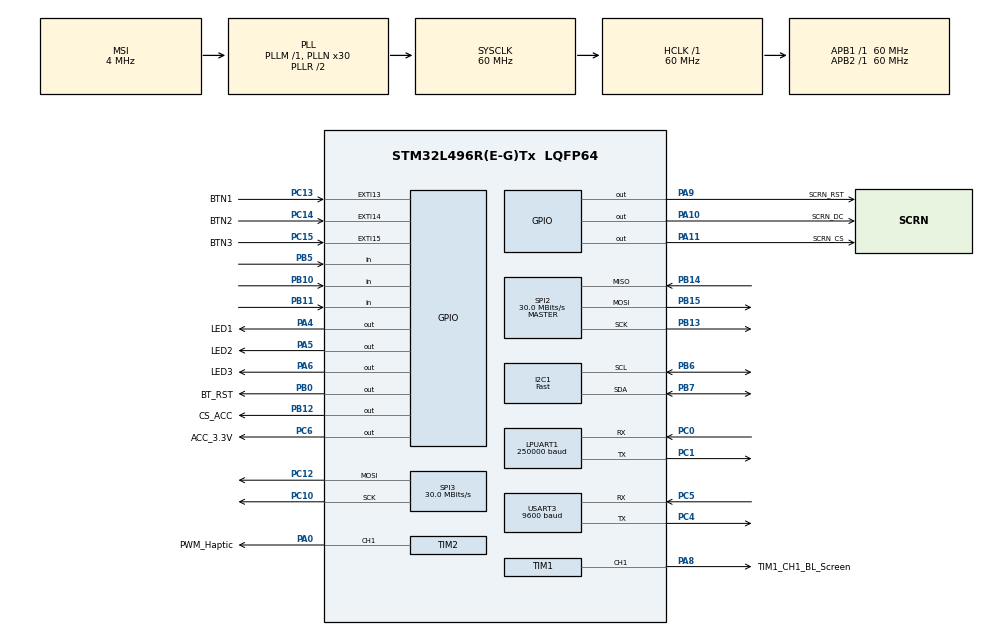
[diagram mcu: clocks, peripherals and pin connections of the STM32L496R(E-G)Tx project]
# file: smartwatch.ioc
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I2C1.I2C_Speed_Mode=I2C_Fast
I2C1.Timing=0x00B01E60
LPUART1.BaudRate=250000
LPUART1.WordLength=UART_WORDLENGTH_8B
Mcu.Family=STM32L4
Mcu.Name=STM32L496R(E-G)Tx
Mcu.Package=LQFP64
NVIC.EXTI15_10_IRQn=true\:0\:0\:false\:false\:true\:true\:true\:true
NVIC.PriorityGroup=NVIC_PRIORITYGROUP_4
NVIC.RTC_Alarm_IRQn=true\:0\:0\:false\:false\:true\:true\:true\:true
NVIC.TIM2_IRQn=true\:0\:0\:false\:false\:true\:true\:true\:true
NVIC.TIM3_IRQn=true\:0\:0\:false\:false\:true\:true\:true\:true
NVIC.USART3_IRQn=true\:0\:0\:false\:false\:true\:true\:true\:true
PA0.GPIO_Label=PWM_Haptic
PA0.Signal=S_TIM2_CH1
PA10.GPIO_Label=SCRN_DC
PA10.Signal=GPIO_Output
PA11.GPIO_Label=SCRN_CS
PA11.Signal=GPIO_Output
PA13\ (JTMS/SWDIO).GPIO_Label=Flashing SWDIO
PA13\ (JTMS/SWDIO).Signal=SYS_JTMS-SWDIO
PA14\ (JTCK/SWCLK).GPIO_Label=Flashing SWCLK
PA14\ (JTCK/SWCLK).Signal=SYS_JTCK-SWCLK
PA4.GPIO_Label=LED1
PA4.Signal=GPIO_Output
PA5.GPIO_Label=LED2
PA5.Signal=GPIO_Output
PA6.GPIO_Label=LED3
PA6.Signal=GPIO_Output
PA8.GPIO_Label=TIM1_CH1_BL_Screen
PA8.Signal=S_TIM1_CH1
PA9.GPIO_Label=SCRN_RST
PA9.Signal=GPIO_Output
PB0.GPIO_Label=BT_RST
PB0.Signal=GPIO_Output
PB10.Signal=GPIO_Input
PB11.Signal=GPIO_Input
PB12.GPIO_Label=CS_ACC
PB12.Signal=GPIO_Output
PB13.Mode=Full_Duplex_Master
PB13.Signal=SPI2_SCK
PB14.Mode=Full_Duplex_Master
PB14.Signal=SPI2_MISO
PB15.Mode=Full_Duplex_Master
PB15.Signal=SPI2_MOSI
PB3\ (JTDO/TRACESWO).Signal=SYS_JTDO-SWO
PB5.Signal=GPIO_Input
PB6.Mode=I2C
PB6.Signal=I2C1_SCL
PB7.Mode=I2C
PB7.Signal=I2C1_SDA
PC0.Mode=Asynchronous
PC0.Signal=LPUART1_RX
PC1.Mode=Asynchronous
PC1.Signal=LPUART1_TX
PC10.Mode=TX_Only_Simplex_Unidirect_Master
PC10.Signal=SPI3_SCK
PC12.Mode=TX_Only_Simplex_Unidirect_Master
PC12.Signal=SPI3_MOSI
PC13.GPIO_Label=BTN1
PC13.GPIO_ModeDefaultEXTI=GPIO_MODE_IT_FALLING
PC13.GPIO_PuPd=GPIO_PULLUP
PC13.Signal=GPXTI13
PC14-OSC32_IN\ (PC14).GPIO_Label=BTN2
PC14-OSC32_IN\ (PC14).GPIO_ModeDefaultEXTI=GPIO_MODE_IT_FALLING
PC14-OSC32_IN\ (PC14).GPIO_PuPd=GPIO_PULLUP
PC14-OSC32_IN\ (PC14).Signal=GPXTI14
PC15-OSC32_OUT\ (PC15).GPIO_Label=BTN3
PC15-OSC32_OUT\ (PC15).GPIO_ModeDefaultEXTI=GPIO_MODE_IT_FALLING
PC15-OSC32_OUT\ (PC15).GPIO_PuPd=GPIO_PULLUP
PC15-OSC32_OUT\ (PC15).Signal=GPXTI15
PC4.Mode=Asynchronous
PC4.Signal=USART3_TX
PC5.Mode=Asynchronous
PC5.Signal=USART3_RX
PC6.GPIO_Label=ACC_3.3V
PC6.Signal=GPIO_Output
PH0-OSC_IN\ (PH0).Mode=HSE-External-Clock-Source
PH0-OSC_IN\ (PH0).Signal=RCC_OSC_IN
ProjectManager.HeapSize=0x200
ProjectManager.StackSize=0x400
ProjectManager.TargetToolchain=STM32CubeIDE
RCC.ADCFreq_Value=10666666.666666666
RCC.AHBFreq_Value=60000000
RCC.APB1Freq_Value=60000000
RCC.APB1TimFreq_Value=60000000
RCC.APB2Freq_Value=60000000
RCC.APB2TimFreq_Value=60000000
RCC.CortexFreq_Value=60000000
RCC.HCLKFreq_Value=60000000
RCC.HSE_VALUE=8000000
RCC.HSI48_VALUE=48000000
RCC.HSI_VALUE=16000000
RCC.LSE_VALUE=32768
RCC.MSI_VALUE=4000000
RCC.PLLN=30
RCC.PLLSAI1N=16
RCC.PLLSAI1R=RCC_PLLR_DIV6
RCC.SYSCLKFreq_VALUE=60000000
RCC.SYSCLKSource=RCC_SYSCLKSOURCE_PLLCLK
RCC.USBFreq_Value=32000000
RCC.VCOOutputFreq_Value=120000000
RTC.Alarm-Alarm\ A=RTC_ALARM_A
RTC.AlarmMaskDateWeekDay-Alarm\ A=RTC_ALARMMASK_DATEWEEKDAY
RTC.AlarmMaskHours-Alarm\ A=RTC_ALARMMASK_HOURS
RTC.AlarmMaskMinutes-Alarm\ A=RTC_ALARMMASK_MINUTES
RTC.AlarmMaskSeconds-Alarm\ A=RTC_ALARMMASK_SECONDS
RTC.AlarmSubSecondMask-Alarm\ A=RTC_ALARMSUBSECONDMASK_NONE
RTC.Date=23
RTC.Format=RTC_FORMAT_BIN
RTC.Month=RTC_MONTH_APRIL
SH.S_TIM1_CH1.0=TIM1_CH1,PWM Generation1 CH1
SH.S_TIM2_CH1.0=TIM2_CH1,PWM Generation1 CH1
SPI2.BaudRatePrescaler=SPI_BAUDRATEPRESCALER_2
SPI2.CalculateBaudRate=30.0 MBits/s
SPI2.DataSize=SPI_DATASIZE_8BIT
SPI2.Direction=SPI_DIRECTION_2LINES
SPI2.Mode=SPI_MODE_MASTER
SPI2.VirtualType=VM_MASTER
SPI3.BaudRatePrescaler=SPI_BAUDRATEPRESCALER_2
SPI3.CalculateBaudRate=30.0 MBits/s
SPI3.DataSize=SPI_DATASIZE_8BIT
SPI3.Direction=SPI_DIRECTION_2LINES
SPI3.Mode=SPI_MODE_MASTER
SPI3.VirtualType=VM_MASTER
TIM1.Channel-PWM\ Generation1\ CH1=TIM_CHANNEL_1
TIM2.AutoReloadPreload=TIM_AUTORELOAD_PRELOAD_ENABLE
TIM2.Channel-PWM\ Generation1\ CH1=TIM_CHANNEL_1
TIM2.Period=256000
TIM3.AutoReloadPreload=TIM_AUTORELOAD_PRELOAD_ENABLE
TIM3.ClockDivision=TIM_CLOCKDIVISION_DIV1
TIM3.Period=10000
TIM3.Prescaler=96
TIM3.TIM_MasterOutputTrigger=TIM_TRGO_RESET
USART3.BaudRate=9600
USART3.VirtualMode-Asynchronous=VM_ASYNC
VP_RTC_VS_RTC_Activate.Mode=RTC_Enabled
VP_RTC_VS_RTC_Alarm_A_Intern.Mode=Alarm A
VP_RTC_VS_RTC_Calendar.Mode=RTC_Calendar
VP_TIM2_VS_ClockSourceINT.Mode=Internal
VP_TIM3_VS_ClockSourceINT.Mode=Internal
board=custom

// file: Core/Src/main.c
/* USER CODE BEGIN Header */
/**
  ******************************************************************************
  * @file           : main.c
  * @brief          : Main program body
  ******************************************************************************
  * @attention
  *
  * Copyright (c) 2025 STMicroelectronics.
  * All rights reserved.
  *
  * This software is licensed under terms that can be found in the LICENSE file
  * in the root directory of this software component.
  * If no LICENSE file comes with this software, it is provided AS-IS.
  *
  ******************************************************************************
  */
/* USER CODE END Header */
#include "main.h"

/* USER CODE BEGIN Includes */
#include "stm32l4xx_hal.h"
#include "drivers/lcd.h"
#include "drivers/max30102.h"
#include "drivers/adxl362.h"
#include "drivers/bluetooth.h"
#include "sense/biometrics.h"
#include "displays/screen.h"
#include "displays/data.h"
#include "displays/flappy.h"
#include "sense/filter.h"
#include "displays/launcher.h"
#include "displays/timerApp.h"
#include "displays/sysmon.h"
#include "displays/flashlight.h"
#include "drivers/haptic.h"
#include "drivers/apps.h"
#include "sense/accel.h"
/* USER CODE END Includes */

I2C_HandleTypeDef hi2c1;

UART_HandleTypeDef hlpuart1;
UART_HandleTypeDef huart3;

RTC_HandleTypeDef hrtc;

SPI_HandleTypeDef hspi2;
SPI_HandleTypeDef hspi3;

TIM_HandleTypeDef htim1;
TIM_HandleTypeDef htim2;
TIM_HandleTypeDef htim3;

/* USER CODE BEGIN PV */
uint8_t max30102_head = 0;
extern app_t apps[APP_COUNT];
extern max_struct_t max30102_sensor;
uint8_t rx_buffer[1];
uint8_t rxData = 0;
BWBandPass *filter;
PeakDetector detector;
bool init = false;
/* USER CODE END PV */

void SystemClock_Config(void);
static void MX_GPIO_Init(void);
static void MX_LPUART1_UART_Init(void);
static void MX_USART3_UART_Init(void);
static void MX_SPI3_Init(void);
static void MX_TIM1_Init(void);
static void MX_TIM2_Init(void);
static void MX_I2C1_Init(void);
static void MX_SPI2_Init(void);
static void MX_RTC_Init(void);
static void MX_TIM3_Init(void);

/* USER CODE BEGIN 0 */

app_data_t g_app_data = {
  .display = {
    .active_screen = SCREEN_LAUNCHER,
    .on = true,
    .metric = false,
    .show_heart = true,
    .show_steps = true,
    .show_spo2 = true,
  },
  .settings = {
    .bluetooth = false,
    .battery_level = 68,
    .brightness = 80,
    .metric = false,
  },
  .biometrics = {
    .heart_rate = 75,
    .steps = 4560,
    .spo2 = 0,
  },
  .timeVal = {
    .month = 4,
    .day = 19,
    .year = 2025,
    .hour = 3,
    .minute = 20,
    .second = 51,
  },
  .weather = {
    .condition = 1,
    .humidity = 16,
    .location = "Ann Arbor",
    .temp_current = 59,
    .temp_high = 68,
    .temp_low = 45,
    .description = "Beautiful day to code!"
  }
};

void update_time_from_rtc(void) {
  RTC_TimeTypeDef time = {0};
  RTC_DateTypeDef date = {0};

  HAL_RTC_GetTime(&hrtc, &time, RTC_FORMAT_BIN);
  HAL_RTC_GetDate(&hrtc, &date, RTC_FORMAT_BIN);

  g_app_data.timeVal.hour = time.Hours;
  g_app_data.timeVal.minute = time.Minutes;
  g_app_data.timeVal.second = time.Seconds;
  g_app_data.timeVal.day = date.Date;
  g_app_data.timeVal.month = date.Month;
  g_app_data.timeVal.year = 2000 + date.Year;
}

void watch_init() {
  init_apps();

  filter = create_bw_band_pass_filter(4, 25, 0.5, 3);
  PeakDetector_Init(&detector, 10, 10);
  screen_init();
  ADXL362_Init();
  max30102_init();
  HAL_UART_Receive_IT(&hlpuart1, rx_buffer, 1);
  HAL_TIM_PWM_Start_IT(&htim2, TIM_CHANNEL_1);

  // launcher and apps

  launcher_init();
  flappy_init();
  timer_init();
  sysmon_init();
  flash_init();

  // Initialize time from RTC
  update_time_from_rtc();
  init = true;
}

void watch_tick() {
  // Update time from RTC
  update_time_from_rtc();
  screen_clear(0x0000);
  set_brightness(g_app_data.settings.brightness);
  switch (g_app_data.display.active_screen) {
    case SCREEN_LAUNCHER: {
      launcher_update();
      launcher_draw();
      break;
    }
    case WATCHFACE_ANALOG: {
      apps[APP_WATCHFACE_ANALOG].update();
      apps[APP_WATCHFACE_ANALOG].draw();
      break;
    }
    case WATCHFACE_DIGITAL: {
      apps[APP_WATCHFACE_DIGITAL].update();
      apps[APP_WATCHFACE_DIGITAL].draw();
      break;
    }
    case SCREEN_WEATHER: {
      apps[APP_WEATHER].update();
      apps[APP_WEATHER].draw();
      break;
    }

    case SCREEN_GAMES: {
      apps[APP_GAMES].update();
      apps[APP_GAMES].draw();
      break;
    }

    case SCREEN_TIMER: {
      apps[APP_TIMER].update();
      apps[APP_TIMER].draw();
      break;
    }

    case SCREEN_SYSMON: {
      apps[APP_SYSINFO].update();
      apps[APP_SYSINFO].draw();
      break;
    }
    case SCREEN_FLASHLIGHT: {
      apps[APP_FLASHLIGHT].update();
      apps[APP_FLASHLIGHT].draw();
      break;
    }
    default: {
      //screen_render();
      break;
    }
  }
  screen_render();
}

/* USER CODE END 0 */

int main(void)
{

  /* MCU Configuration--------------------------------------------------------*/

  /* Reset of all peripherals, Initializes the Flash interface and the Systick. */
  HAL_Init();

  /* Configure the system clock */
  SystemClock_Config();

  /* Initialize all configured peripherals */
  MX_GPIO_Init();
  MX_LPUART1_UART_Init();
  MX_USART3_UART_Init();
  MX_SPI3_Init();
  MX_TIM1_Init();
  MX_TIM2_Init();
  MX_I2C1_Init();
  MX_SPI2_Init();
  MX_RTC_Init();
  MX_TIM3_Init();
  /* USER CODE BEGIN 2 */
  watch_init();
  // screen_clear(0xFFFF);
  // screen_render();
  // return -1;

  /* USER CODE END 2 */

  /* Infinite loop */
  /* USER CODE BEGIN WHILE */
  HAL_UART_Receive_IT(&huart3, &rxData, 1);
  HAL_TIM_Base_Start_IT(&htim3);
  while (1) {
    // static uint32_t last_data_send = 0;
    // uint32_t current_tick = HAL_GetTick();

    watch_tick();
    //HAL_UART_Receive_IT(&huart3, &rxData, 1);

    // sends sensor data once a second
    // if (current_tick - last_data_send >= 1000) {
    //   //send_sensor_data();
    //   last_data_send = current_tick;
    // }

    /* USER CODE END WHILE */

  }
}

void SystemClock_Config(void)
{
  RCC_OscInitTypeDef RCC_OscInitStruct = {0};
  RCC_ClkInitTypeDef RCC_ClkInitStruct = {0};

  /** Configure the main internal regulator output voltage
  */
  if (HAL_PWREx_ControlVoltageScaling(PWR_REGULATOR_VOLTAGE_SCALE1) != HAL_OK)
  {
    Error_Handler();
  }

  /** Initializes the RCC Oscillators according to the specified parameters
  * in the RCC_OscInitTypeDef structure.
  */
  RCC_OscInitStruct.OscillatorType = RCC_OSCILLATORTYPE_LSI|RCC_OSCILLATORTYPE_MSI;
  RCC_OscInitStruct.LSIState = RCC_LSI_ON;
  RCC_OscInitStruct.MSIState = RCC_MSI_ON;
  RCC_OscInitStruct.MSICalibrationValue = 0;
  RCC_OscInitStruct.MSIClockRange = RCC_MSIRANGE_6;
  RCC_OscInitStruct.PLL.PLLState = RCC_PLL_ON;
  RCC_OscInitStruct.PLL.PLLSource = RCC_PLLSOURCE_MSI;
  RCC_OscInitStruct.PLL.PLLM = 1;
  RCC_OscInitStruct.PLL.PLLN = 30;
  RCC_OscInitStruct.PLL.PLLP = RCC_PLLP_DIV2;
  RCC_OscInitStruct.PLL.PLLQ = RCC_PLLQ_DIV2;
  RCC_OscInitStruct.PLL.PLLR = RCC_PLLR_DIV2;
  if (HAL_RCC_OscConfig(&RCC_OscInitStruct) != HAL_OK)
  {
    Error_Handler();
  }

  /** Initializes the CPU, AHB and APB buses clocks
  */
  RCC_ClkInitStruct.ClockType = RCC_CLOCKTYPE_HCLK|RCC_CLOCKTYPE_SYSCLK
                              |RCC_CLOCKTYPE_PCLK1|RCC_CLOCKTYPE_PCLK2;
  RCC_ClkInitStruct.SYSCLKSource = RCC_SYSCLKSOURCE_PLLCLK;
  RCC_ClkInitStruct.AHBCLKDivider = RCC_SYSCLK_DIV1;
  RCC_ClkInitStruct.APB1CLKDivider = RCC_HCLK_DIV1;
  RCC_ClkInitStruct.APB2CLKDivider = RCC_HCLK_DIV1;

  if (HAL_RCC_ClockConfig(&RCC_ClkInitStruct, FLASH_LATENCY_3) != HAL_OK)
  {
    Error_Handler();
  }
}

static void MX_I2C1_Init(void)
{

  hi2c1.Instance = I2C1;
  hi2c1.Init.Timing = 0x00B01E60;
  hi2c1.Init.OwnAddress1 = 0;
  hi2c1.Init.AddressingMode = I2C_ADDRESSINGMODE_7BIT;
  hi2c1.Init.DualAddressMode = I2C_DUALADDRESS_DISABLE;
  hi2c1.Init.OwnAddress2 = 0;
  hi2c1.Init.OwnAddress2Masks = I2C_OA2_NOMASK;
  hi2c1.Init.GeneralCallMode = I2C_GENERALCALL_DISABLE;
  hi2c1.Init.NoStretchMode = I2C_NOSTRETCH_DISABLE;
  if (HAL_I2C_Init(&hi2c1) != HAL_OK)
  {
    Error_Handler();
  }

  /** Configure Analogue filter
  */
  if (HAL_I2CEx_ConfigAnalogFilter(&hi2c1, I2C_ANALOGFILTER_ENABLE) != HAL_OK)
  {
    Error_Handler();
  }

  /** Configure Digital filter
  */
  if (HAL_I2CEx_ConfigDigitalFilter(&hi2c1, 0) != HAL_OK)
  {
    Error_Handler();
  }

}

static void MX_LPUART1_UART_Init(void)
{

  hlpuart1.Instance = LPUART1;
  hlpuart1.Init.BaudRate = 250000;
  hlpuart1.Init.WordLength = UART_WORDLENGTH_8B;
  hlpuart1.Init.StopBits = UART_STOPBITS_1;
  hlpuart1.Init.Parity = UART_PARITY_NONE;
  hlpuart1.Init.Mode = UART_MODE_TX_RX;
  hlpuart1.Init.HwFlowCtl = UART_HWCONTROL_NONE;
  hlpuart1.Init.OneBitSampling = UART_ONE_BIT_SAMPLE_DISABLE;
  hlpuart1.AdvancedInit.AdvFeatureInit = UART_ADVFEATURE_NO_INIT;
  if (HAL_UART_Init(&hlpuart1) != HAL_OK)
  {
    Error_Handler();
  }

}

static void MX_USART3_UART_Init(void)
{

  huart3.Instance = USART3;
  huart3.Init.BaudRate = 9600;
  huart3.Init.WordLength = UART_WORDLENGTH_8B;
  huart3.Init.StopBits = UART_STOPBITS_1;
  huart3.Init.Parity = UART_PARITY_NONE;
  huart3.Init.Mode = UART_MODE_TX_RX;
  huart3.Init.HwFlowCtl = UART_HWCONTROL_NONE;
  huart3.Init.OverSampling = UART_OVERSAMPLING_16;
  huart3.Init.OneBitSampling = UART_ONE_BIT_SAMPLE_DISABLE;
  huart3.AdvancedInit.AdvFeatureInit = UART_ADVFEATURE_NO_INIT;
  if (HAL_UART_Init(&huart3) != HAL_OK)
  {
    Error_Handler();
  }

}

static void MX_RTC_Init(void)
{

  RTC_TimeTypeDef sTime = {0};
  RTC_DateTypeDef sDate = {0};
  RTC_AlarmTypeDef sAlarm = {0};

  /** Initialize RTC Only
  */
  hrtc.Instance = RTC;
  hrtc.Init.HourFormat = RTC_HOURFORMAT_24;
  hrtc.Init.AsynchPrediv = 127;
  hrtc.Init.SynchPrediv = 255;
  hrtc.Init.OutPut = RTC_OUTPUT_DISABLE;
  hrtc.Init.OutPutRemap = RTC_OUTPUT_REMAP_NONE;
  hrtc.Init.OutPutPolarity = RTC_OUTPUT_POLARITY_HIGH;
  hrtc.Init.OutPutType = RTC_OUTPUT_TYPE_OPENDRAIN;
  if (HAL_RTC_Init(&hrtc) != HAL_OK)
  {
    Error_Handler();
  }

  /** Initialize RTC and set the Time and Date
  */
  sTime.Hours = 0;
  sTime.Minutes = 0;
  sTime.Seconds = 0;
  sTime.DayLightSaving = RTC_DAYLIGHTSAVING_NONE;
  sTime.StoreOperation = RTC_STOREOPERATION_RESET;
  if (HAL_RTC_SetTime(&hrtc, &sTime, RTC_FORMAT_BIN) != HAL_OK)
  {
    Error_Handler();
  }
  sDate.WeekDay = RTC_WEEKDAY_MONDAY;
  sDate.Month = RTC_MONTH_APRIL;
  sDate.Date = 23;
  sDate.Year = 0;

  if (HAL_RTC_SetDate(&hrtc, &sDate, RTC_FORMAT_BIN) != HAL_OK)
  {
    Error_Handler();
  }

  /** Enable the Alarm A
  */
  sAlarm.AlarmTime.Hours = 0;
  sAlarm.AlarmTime.Minutes = 0;
  sAlarm.AlarmTime.Seconds = 0;
  sAlarm.AlarmTime.SubSeconds = 0;
  sAlarm.AlarmTime.DayLightSaving = RTC_DAYLIGHTSAVING_NONE;
  sAlarm.AlarmTime.StoreOperation = RTC_STOREOPERATION_RESET;
  sAlarm.AlarmMask = RTC_ALARMMASK_ALL;
  sAlarm.AlarmSubSecondMask = RTC_ALARMSUBSECONDMASK_NONE;
  sAlarm.AlarmDateWeekDaySel = RTC_ALARMDATEWEEKDAYSEL_DATE;
  sAlarm.AlarmDateWeekDay = 1;
  sAlarm.Alarm = RTC_ALARM_A;
  if (HAL_RTC_SetAlarm_IT(&hrtc, &sAlarm, RTC_FORMAT_BIN) != HAL_OK)
  {
    Error_Handler();
  }

}

static void MX_SPI2_Init(void)
{

  /* SPI2 parameter configuration*/
  hspi2.Instance = SPI2;
  hspi2.Init.Mode = SPI_MODE_MASTER;
  hspi2.Init.Direction = SPI_DIRECTION_2LINES;
  hspi2.Init.DataSize = SPI_DATASIZE_8BIT;
  hspi2.Init.CLKPolarity = SPI_POLARITY_LOW;
  hspi2.Init.CLKPhase = SPI_PHASE_1EDGE;
  hspi2.Init.NSS = SPI_NSS_SOFT;
  hspi2.Init.BaudRatePrescaler = SPI_BAUDRATEPRESCALER_2;
  hspi2.Init.FirstBit = SPI_FIRSTBIT_MSB;
  hspi2.Init.TIMode = SPI_TIMODE_DISABLE;
  hspi2.Init.CRCCalculation = SPI_CRCCALCULATION_DISABLE;
  hspi2.Init.CRCPolynomial = 7;
  hspi2.Init.CRCLength = SPI_CRC_LENGTH_DATASIZE;
  hspi2.Init.NSSPMode = SPI_NSS_PULSE_ENABLE;
  if (HAL_SPI_Init(&hspi2) != HAL_OK)
  {
    Error_Handler();
  }

}

static void MX_SPI3_Init(void)
{

  /* SPI3 parameter configuration*/
  hspi3.Instance = SPI3;
  hspi3.Init.Mode = SPI_MODE_MASTER;
  hspi3.Init.Direction = SPI_DIRECTION_2LINES;
  hspi3.Init.DataSize = SPI_DATASIZE_8BIT;
  hspi3.Init.CLKPolarity = SPI_POLARITY_LOW;
  hspi3.Init.CLKPhase = SPI_PHASE_1EDGE;
  hspi3.Init.NSS = SPI_NSS_SOFT;
  hspi3.Init.BaudRatePrescaler = SPI_BAUDRATEPRESCALER_2;
  hspi3.Init.FirstBit = SPI_FIRSTBIT_MSB;
  hspi3.Init.TIMode = SPI_TIMODE_DISABLE;
  hspi3.Init.CRCCalculation = SPI_CRCCALCULATION_DISABLE;
  hspi3.Init.CRCPolynomial = 7;
  hspi3.Init.CRCLength = SPI_CRC_LENGTH_DATASIZE;
  hspi3.Init.NSSPMode = SPI_NSS_PULSE_ENABLE;
  if (HAL_SPI_Init(&hspi3) != HAL_OK)
  {
    Error_Handler();
  }

}

static void MX_TIM1_Init(void)
{

  TIM_MasterConfigTypeDef sMasterConfig = {0};
  TIM_OC_InitTypeDef sConfigOC = {0};
  TIM_BreakDeadTimeConfigTypeDef sBreakDeadTimeConfig = {0};

  htim1.Instance = TIM1;
  htim1.Init.Prescaler = 0;
  htim1.Init.CounterMode = TIM_COUNTERMODE_UP;
  htim1.Init.Period = 65535;
  htim1.Init.ClockDivision = TIM_CLOCKDIVISION_DIV1;
  htim1.Init.RepetitionCounter = 0;
  htim1.Init.AutoReloadPreload = TIM_AUTORELOAD_PRELOAD_DISABLE;
  if (HAL_TIM_PWM_Init(&htim1) != HAL_OK)
  {
    Error_Handler();
  }
  sMasterConfig.MasterOutputTrigger = TIM_TRGO_RESET;
  sMasterConfig.MasterOutputTrigger2 = TIM_TRGO2_RESET;
  sMasterConfig.MasterSlaveMode = TIM_MASTERSLAVEMODE_DISABLE;
  if (HAL_TIMEx_MasterConfigSynchronization(&htim1, &sMasterConfig) != HAL_OK)
  {
    Error_Handler();
  }
  sConfigOC.OCMode = TIM_OCMODE_PWM1;
  sConfigOC.Pulse = 0;
  sConfigOC.OCPolarity = TIM_OCPOLARITY_HIGH;
  sConfigOC.OCNPolarity = TIM_OCNPOLARITY_HIGH;
  sConfigOC.OCFastMode = TIM_OCFAST_DISABLE;
  sConfigOC.OCIdleState = TIM_OCIDLESTATE_RESET;
  sConfigOC.OCNIdleState = TIM_OCNIDLESTATE_RESET;
  if (HAL_TIM_PWM_ConfigChannel(&htim1, &sConfigOC, TIM_CHANNEL_1) != HAL_OK)
  {
    Error_Handler();
  }
  sBreakDeadTimeConfig.OffStateRunMode = TIM_OSSR_DISABLE;
  sBreakDeadTimeConfig.OffStateIDLEMode = TIM_OSSI_DISABLE;
  sBreakDeadTimeConfig.LockLevel = TIM_LOCKLEVEL_OFF;
  sBreakDeadTimeConfig.DeadTime = 0;
  sBreakDeadTimeConfig.BreakState = TIM_BREAK_DISABLE;
  sBreakDeadTimeConfig.BreakPolarity = TIM_BREAKPOLARITY_HIGH;
  sBreakDeadTimeConfig.BreakFilter = 0;
  sBreakDeadTimeConfig.Break2State = TIM_BREAK2_DISABLE;
  sBreakDeadTimeConfig.Break2Polarity = TIM_BREAK2POLARITY_HIGH;
  sBreakDeadTimeConfig.Break2Filter = 0;
  sBreakDeadTimeConfig.AutomaticOutput = TIM_AUTOMATICOUTPUT_DISABLE;
  if (HAL_TIMEx_ConfigBreakDeadTime(&htim1, &sBreakDeadTimeConfig) != HAL_OK)
  {
    Error_Handler();
  }
  HAL_TIM_MspPostInit(&htim1);

}

static void MX_TIM2_Init(void)
{

  TIM_ClockConfigTypeDef sClockSourceConfig = {0};
  TIM_MasterConfigTypeDef sMasterConfig = {0};
  TIM_OC_InitTypeDef sConfigOC = {0};

  htim2.Instance = TIM2;
  htim2.Init.Prescaler = 0;
  htim2.Init.CounterMode = TIM_COUNTERMODE_UP;
  htim2.Init.Period = 256000;
  htim2.Init.ClockDivision = TIM_CLOCKDIVISION_DIV1;
  htim2.Init.AutoReloadPreload = TIM_AUTORELOAD_PRELOAD_ENABLE;
  if (HAL_TIM_Base_Init(&htim2) != HAL_OK)
  {
    Error_Handler();
  }
  sClockSourceConfig.ClockSource = TIM_CLOCKSOURCE_INTERNAL;
  if (HAL_TIM_ConfigClockSource(&htim2, &sClockSourceConfig) != HAL_OK)
  {
    Error_Handler();
  }
  if (HAL_TIM_PWM_Init(&htim2) != HAL_OK)
  {
    Error_Handler();
  }
  sMasterConfig.MasterOutputTrigger = TIM_TRGO_RESET;
  sMasterConfig.MasterSlaveMode = TIM_MASTERSLAVEMODE_DISABLE;
  if (HAL_TIMEx_MasterConfigSynchronization(&htim2, &sMasterConfig) != HAL_OK)
  {
    Error_Handler();
  }
  sConfigOC.OCMode = TIM_OCMODE_PWM1;
  sConfigOC.Pulse = 0;
  sConfigOC.OCPolarity = TIM_OCPOLARITY_HIGH;
  sConfigOC.OCFastMode = TIM_OCFAST_DISABLE;
  if (HAL_TIM_PWM_ConfigChannel(&htim2, &sConfigOC, TIM_CHANNEL_1) != HAL_OK)
  {
    Error_Handler();
  }
  HAL_TIM_MspPostInit(&htim2);

}

static void MX_TIM3_Init(void)
{

  TIM_ClockConfigTypeDef sClockSourceConfig = {0};
  TIM_MasterConfigTypeDef sMasterConfig = {0};

  htim3.Instance = TIM3;
  htim3.Init.Prescaler = 96;
  htim3.Init.CounterMode = TIM_COUNTERMODE_UP;
  htim3.Init.Period = 10000;
  htim3.Init.ClockDivision = TIM_CLOCKDIVISION_DIV1;
  htim3.Init.AutoReloadPreload = TIM_AUTORELOAD_PRELOAD_ENABLE;
  if (HAL_TIM_Base_Init(&htim3) != HAL_OK)
  {
    Error_Handler();
  }
  sClockSourceConfig.ClockSource = TIM_CLOCKSOURCE_INTERNAL;
  if (HAL_TIM_ConfigClockSource(&htim3, &sClockSourceConfig) != HAL_OK)
  {
    Error_Handler();
  }
  sMasterConfig.MasterOutputTrigger = TIM_TRGO_RESET;
  sMasterConfig.MasterSlaveMode = TIM_MASTERSLAVEMODE_DISABLE;
  if (HAL_TIMEx_MasterConfigSynchronization(&htim3, &sMasterConfig) != HAL_OK)
  {
    Error_Handler();
  }

}

static void MX_GPIO_Init(void)
{
  GPIO_InitTypeDef GPIO_InitStruct = {0};

  /* GPIO Ports Clock Enable */
  __HAL_RCC_GPIOC_CLK_ENABLE();
  __HAL_RCC_GPIOH_CLK_ENABLE();
  __HAL_RCC_GPIOA_CLK_ENABLE();
  __HAL_RCC_GPIOB_CLK_ENABLE();

  /*Configure GPIO pin Output Level */
  HAL_GPIO_WritePin(GPIOA, LED1_Pin|LED2_Pin|LED3_Pin|SCRN_RST_Pin
                          |SCRN_DC_Pin|SCRN_CS_Pin, GPIO_PIN_RESET);

  /*Configure GPIO pin Output Level */
  HAL_GPIO_WritePin(GPIOB, BT_RST_Pin|CS_ACC_Pin, GPIO_PIN_RESET);

  /*Configure GPIO pin Output Level */
  HAL_GPIO_WritePin(ACC_3_3V_GPIO_Port, ACC_3_3V_Pin, GPIO_PIN_RESET);

  /*Configure GPIO pins : BTN1_Pin BTN2_Pin BTN3_Pin */
  GPIO_InitStruct.Pin = BTN1_Pin|BTN2_Pin|BTN3_Pin;
  GPIO_InitStruct.Mode = GPIO_MODE_IT_FALLING;
  GPIO_InitStruct.Pull = GPIO_PULLUP;
  HAL_GPIO_Init(GPIOC, &GPIO_InitStruct);

  /*Configure GPIO pins : LED1_Pin LED2_Pin LED3_Pin SCRN_RST_Pin
                           SCRN_DC_Pin SCRN_CS_Pin */
  GPIO_InitStruct.Pin = LED1_Pin|LED2_Pin|LED3_Pin|SCRN_RST_Pin
                          |SCRN_DC_Pin|SCRN_CS_Pin;
  GPIO_InitStruct.Mode = GPIO_MODE_OUTPUT_PP;
  GPIO_InitStruct.Pull = GPIO_NOPULL;
  GPIO_InitStruct.Speed = GPIO_SPEED_FREQ_LOW;
  HAL_GPIO_Init(GPIOA, &GPIO_InitStruct);

  /*Configure GPIO pins : BT_RST_Pin CS_ACC_Pin */
  GPIO_InitStruct.Pin = BT_RST_Pin|CS_ACC_Pin;
  GPIO_InitStruct.Mode = GPIO_MODE_OUTPUT_PP;
  GPIO_InitStruct.Pull = GPIO_NOPULL;
  GPIO_InitStruct.Speed = GPIO_SPEED_FREQ_LOW;
  HAL_GPIO_Init(GPIOB, &GPIO_InitStruct);

  /*Configure GPIO pins : PB10 PB11 PB5 */
  GPIO_InitStruct.Pin = GPIO_PIN_10|GPIO_PIN_11|GPIO_PIN_5;
  GPIO_InitStruct.Mode = GPIO_MODE_INPUT;
  GPIO_InitStruct.Pull = GPIO_NOPULL;
  HAL_GPIO_Init(GPIOB, &GPIO_InitStruct);

  /*Configure GPIO pin : ACC_3_3V_Pin */
  GPIO_InitStruct.Pin = ACC_3_3V_Pin;
  GPIO_InitStruct.Mode = GPIO_MODE_OUTPUT_PP;
  GPIO_InitStruct.Pull = GPIO_NOPULL;
  GPIO_InitStruct.Speed = GPIO_SPEED_FREQ_LOW;
  HAL_GPIO_Init(ACC_3_3V_GPIO_Port, &GPIO_InitStruct);

  /* EXTI interrupt init*/
  HAL_NVIC_SetPriority(EXTI15_10_IRQn, 0, 0);
  HAL_NVIC_EnableIRQ(EXTI15_10_IRQn);

}

/* USER CODE BEGIN 4 */
#ifdef __GNUC__
#define PUTCHAR_PROTOTYPE int __io_putchar(int ch)
#else
  #define PUTCHAR_PROTOTYPE int fputc(int ch, FILE *f)
#endif /* __GNUC__ */
PUTCHAR_PROTOTYPE {
  HAL_UART_Transmit(&huart3, (uint8_t *) &ch, 1, 0xFFFF);
  return ch;
}

void HAL_GPIO_EXTI_Callback(uint16_t GPIO_Pin) {
  button_t btn;
  if (GPIO_Pin == BTN1_Pin) {
    btn = BTN_DOWN;
    Haptic_Buzz(); // Short
  } else if (GPIO_Pin == BTN2_Pin) {
    btn = BTN_SEL;
    Haptic_Buzz(); // Medium
  } else if (GPIO_Pin == BTN3_Pin) {
    btn = BTN_UP;
    Haptic_Buzz(); // Short
  } else {
    return;
  }

  // Route button input to current app
  switch (g_app_data.display.active_screen) {
    case SCREEN_LAUNCHER: {
      launcher_input(btn);
      break;
    }

    case WATCHFACE_DIGITAL: {
      apps[APP_WATCHFACE_DIGITAL].input(btn);
      break;
    }

    case WATCHFACE_ANALOG: {
      apps[APP_WATCHFACE_ANALOG].input(btn);
      break;
    }

    case SCREEN_GAMES: {
      apps[APP_GAMES].input(btn);
      break;
    }

    case SCREEN_TIMER: {
      apps[APP_TIMER].input(btn);
      break;
    }

    case SCREEN_SYSMON: {
      apps[APP_SYSINFO].input(btn);
      break;
    }

    case SCREEN_FLASHLIGHT: {
      apps[APP_FLASHLIGHT].input(btn);
      break;
    }

    default: {
      apps[APP_WATCHFACE_ANALOG].input(btn);
      break;
    }
  }
}

void HAL_TIM_PeriodElapsedCallback(TIM_HandleTypeDef *htim) {
  Haptic_Stop();
  update_accel_data();
  update_biometrics(filter, &detector);
}

/* USER CODE END 4 */

void Error_Handler(void)
{
  __disable_irq();
  while (1) {
  }
}
